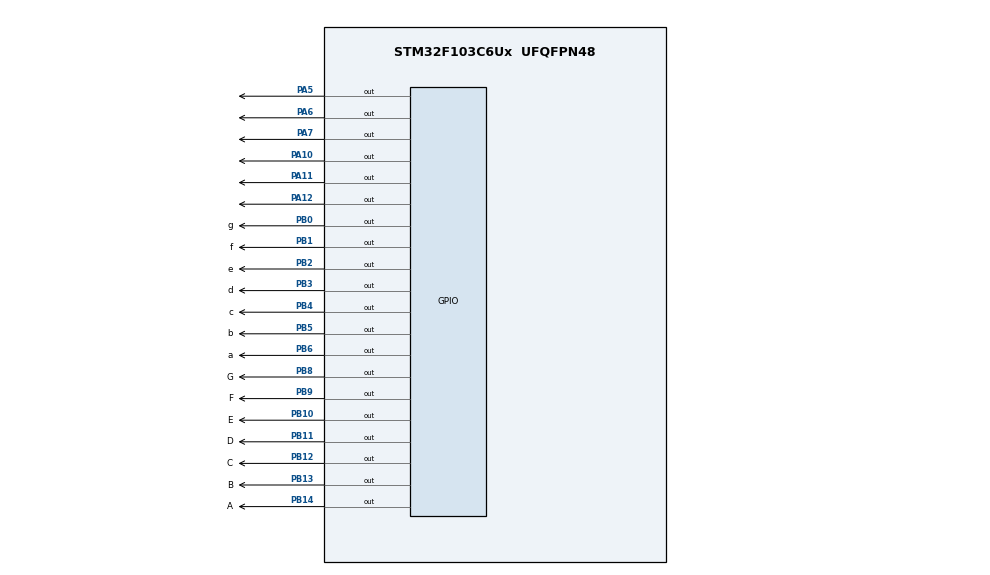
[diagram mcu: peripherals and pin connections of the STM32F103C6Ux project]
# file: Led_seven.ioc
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Mcu.Family=STM32F1
Mcu.Name=STM32F103C6Ux
Mcu.Package=UFQFPN48
NVIC.PriorityGroup=NVIC_PRIORITYGROUP_4
PA10.Signal=GPIO_Output
PA11.Signal=GPIO_Output
PA12.Signal=GPIO_Output
PA5.Signal=GPIO_Output
PA6.Signal=GPIO_Output
PA7.Signal=GPIO_Output
PB0.GPIO_Label=g
PB0.Signal=GPIO_Output
PB1.GPIO_Label=f
PB1.Signal=GPIO_Output
PB10.GPIO_Label=E
PB10.Signal=GPIO_Output
PB11.GPIO_Label=D
PB11.Signal=GPIO_Output
PB12.GPIO_Label=C
PB12.Signal=GPIO_Output
PB13.GPIO_Label=B
PB13.Signal=GPIO_Output
PB14.GPIO_Label=A
PB14.Signal=GPIO_Output
PB2.GPIO_Label=e
PB2.Signal=GPIO_Output
PB3.GPIO_Label=d
PB3.Signal=GPIO_Output
PB4.GPIO_Label=c
PB4.Signal=GPIO_Output
PB5.GPIO_Label=b
PB5.Signal=GPIO_Output
PB6.GPIO_Label=a
PB6.Signal=GPIO_Output
PB8.GPIO_Label=G
PB8.Signal=GPIO_Output
PB9.GPIO_Label=F
PB9.Signal=GPIO_Output
ProjectManager.HeapSize=0x200
ProjectManager.StackSize=0x400
ProjectManager.TargetToolchain=STM32CubeIDE
RCC.APB1Freq_Value=8000000
RCC.APB2Freq_Value=8000000
VP_SYS_VS_ND.Mode=No_Debug
board=custom

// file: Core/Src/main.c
/* USER CODE BEGIN Header */
/**
  ******************************************************************************
  * @file           : main.c
  * @brief          : Main program body
  ******************************************************************************
  * @attention
  *
  * <h2><center>&copy; Copyright (c) 2022 STMicroelectronics.
  * All rights reserved.</center></h2>
  *
  * This software component is licensed by ST under BSD 3-Clause license,
  * the "License"; You may not use this file except in compliance with the
  * License. You may obtain a copy of the License at:
  *                        opensource.org/licenses/BSD-3-Clause
  *
  ******************************************************************************
  */
/* USER CODE END Header */
#include "main.h"

void SystemClock_Config(void);
static void MX_GPIO_Init(void);

/* USER CODE BEGIN 0 */
void display7SEG(int num)
{
	HAL_GPIO_WritePin ( GPIOB , g_Pin|f_Pin|e_Pin|d_Pin|c_Pin|b_Pin|a_Pin ,RESET);
	switch (num)
	{
	case 0:
		HAL_GPIO_WritePin ( GPIOB , g_Pin ,SET);
		break;
	case 1:
		HAL_GPIO_WritePin ( GPIOB , g_Pin|f_Pin|e_Pin|d_Pin|a_Pin ,SET);
		break;
	case 2:
		HAL_GPIO_WritePin ( GPIOB , f_Pin|c_Pin ,SET);
		break;
	case 3:
		HAL_GPIO_WritePin ( GPIOB , f_Pin|e_Pin ,SET);
		break;
	case 4:
		HAL_GPIO_WritePin ( GPIOB , e_Pin|d_Pin|a_Pin ,SET);
		break;
	case 5:
		HAL_GPIO_WritePin ( GPIOB , e_Pin|b_Pin ,SET);
		break;
	case 6:
		HAL_GPIO_WritePin ( GPIOB , b_Pin ,SET);
		break;
	case 7:
		HAL_GPIO_WritePin ( GPIOB , g_Pin|f_Pin|e_Pin|d_Pin ,SET);
		break;
	case 8:
		break;
	case 9:
		HAL_GPIO_WritePin ( GPIOB , e_Pin ,SET );
		break;
	}
}
void display7SEGOPERSITE(int num)
{
	HAL_GPIO_WritePin ( GPIOB , G_Pin|F_Pin|E_Pin|D_Pin|C_Pin|B_Pin|A_Pin ,RESET );
	switch (num)
	{
	case 0:
		HAL_GPIO_WritePin ( GPIOB , G_Pin ,SET );
		break;
	case 1:
		HAL_GPIO_WritePin ( GPIOB , G_Pin|F_Pin|E_Pin|D_Pin|A_Pin ,SET );
		break;
	case 2:
		HAL_GPIO_WritePin ( GPIOB , F_Pin|C_Pin ,SET );
		break;
	case 3:
		HAL_GPIO_WritePin ( GPIOB , F_Pin|E_Pin ,SET );
		break;
	case 4:
		HAL_GPIO_WritePin ( GPIOB , E_Pin|D_Pin|A_Pin ,SET );
		break;
	case 5:
		HAL_GPIO_WritePin ( GPIOB , E_Pin|B_Pin ,SET );
		break;
	case 6:
		HAL_GPIO_WritePin ( GPIOB , B_Pin ,SET );
		break;
	case 7:
		HAL_GPIO_WritePin ( GPIOB , G_Pin|F_Pin|E_Pin|D_Pin ,SET );
		break;
	case 8:
		break;
	case 9:
		HAL_GPIO_WritePin ( GPIOB , E_Pin ,SET );
		break;
	}
}
/* USER CODE END 0 */

int main(void)
{

  /* MCU Configuration--------------------------------------------------------*/

  /* Reset of all peripherals, Initializes the Flash interface and the Systick. */
  HAL_Init();

  /* Configure the system clock */
  SystemClock_Config();

  /* Initialize all configured peripherals */
  MX_GPIO_Init();

  /* Infinite loop */
  /* USER CODE BEGIN WHILE */
  int counter = 0;
  int countled1, countled2;
  int red, yellow, green;
  while (1)
  {
	  ///Ex4
//	  if(counter >= 10) counter = 0;
//	  display7SEG(counter++);
//	  HAL_Delay(1000);
	  ///
	  ///Ex5
	  switch (counter)
 	  {
	  case 0:
		  HAL_GPIO_TogglePin(GPIOA,GPIO_PIN_5);
		  HAL_GPIO_TogglePin(GPIOA,GPIO_PIN_6);
	  	  HAL_GPIO_TogglePin(GPIOA,GPIO_PIN_11);
 		  HAL_GPIO_TogglePin(GPIOA,GPIO_PIN_12);
 		  break;
	  case 3:
		  HAL_GPIO_TogglePin(GPIOA,GPIO_PIN_7);
		  HAL_GPIO_TogglePin(GPIOA,GPIO_PIN_6);
		  break;
	  case 5:
		  HAL_GPIO_TogglePin(GPIOA,GPIO_PIN_6);
		  HAL_GPIO_TogglePin(GPIOA,GPIO_PIN_5);
		  HAL_GPIO_TogglePin(GPIOA,GPIO_PIN_10);
		  HAL_GPIO_TogglePin(GPIOA,GPIO_PIN_12);
		  break;
	  case 8:
		  HAL_GPIO_TogglePin(GPIOA,GPIO_PIN_12);
		  HAL_GPIO_TogglePin(GPIOA,GPIO_PIN_11);
		  break;
	  case 10:
		  counter=0;
		  HAL_GPIO_TogglePin(GPIOA,GPIO_PIN_5);
		  HAL_GPIO_TogglePin(GPIOA,GPIO_PIN_7);
		  HAL_GPIO_TogglePin(GPIOA,GPIO_PIN_11);
		  HAL_GPIO_TogglePin(GPIOA,GPIO_PIN_10);
		  break;
	  }
	  if(counter == 0)
	  {
		  red = 0;
		  yellow = 0;
		  green = 1;
	  }
	  if(green == 1)
	  {
		  countled1 = 3;
		  countled2 = 5;
		  green = 0;
		  yellow = 1;
	  }
	  if(yellow == 1 && countled1 == 0)
	  {
		  countled1 = 2;
		  yellow = 0;
		  red = 1;
	  }
	  if(red == 1 && countled1 == 0)
	  {
		  countled1 = 5;
		  countled2 = 3;
		  yellow = 1;
		  red = 0;
	  }
	  if(yellow == 1 && countled2 == 0)
	  {
		  countled2 = 2;
		  yellow = 0;
	  }
	  countled1--;
	  countled2--;
	  display7SEG(countled1);
	  display7SEGOPERSITE(countled2);
	  counter++;
  	  HAL_Delay (1000);
    /* USER CODE END WHILE */

  }
}

void SystemClock_Config(void)
{
  RCC_OscInitTypeDef RCC_OscInitStruct = {0};
  RCC_ClkInitTypeDef RCC_ClkInitStruct = {0};

  /** Initializes the RCC Oscillators according to the specified parameters
  * in the RCC_OscInitTypeDef structure.
  */
  RCC_OscInitStruct.OscillatorType = RCC_OSCILLATORTYPE_HSI;
  RCC_OscInitStruct.HSIState = RCC_HSI_ON;
  RCC_OscInitStruct.HSICalibrationValue = RCC_HSICALIBRATION_DEFAULT;
  RCC_OscInitStruct.PLL.PLLState = RCC_PLL_NONE;
  if (HAL_RCC_OscConfig(&RCC_OscInitStruct) != HAL_OK)
  {
    Error_Handler();
  }
  /** Initializes the CPU, AHB and APB buses clocks
  */
  RCC_ClkInitStruct.ClockType = RCC_CLOCKTYPE_HCLK|RCC_CLOCKTYPE_SYSCLK
                              |RCC_CLOCKTYPE_PCLK1|RCC_CLOCKTYPE_PCLK2;
  RCC_ClkInitStruct.SYSCLKSource = RCC_SYSCLKSOURCE_HSI;
  RCC_ClkInitStruct.AHBCLKDivider = RCC_SYSCLK_DIV1;
  RCC_ClkInitStruct.APB1CLKDivider = RCC_HCLK_DIV1;
  RCC_ClkInitStruct.APB2CLKDivider = RCC_HCLK_DIV1;

  if (HAL_RCC_ClockConfig(&RCC_ClkInitStruct, FLASH_LATENCY_0) != HAL_OK)
  {
    Error_Handler();
  }
}

static void MX_GPIO_Init(void)
{
  GPIO_InitTypeDef GPIO_InitStruct = {0};

  /* GPIO Ports Clock Enable */
  __HAL_RCC_GPIOA_CLK_ENABLE();
  __HAL_RCC_GPIOB_CLK_ENABLE();

  /*Configure GPIO pin Output Level */
  HAL_GPIO_WritePin(GPIOA, GPIO_PIN_5|GPIO_PIN_6|GPIO_PIN_7|GPIO_PIN_10
                          |GPIO_PIN_11|GPIO_PIN_12, GPIO_PIN_RESET);

  /*Configure GPIO pin Output Level */
  HAL_GPIO_WritePin(GPIOB, g_Pin|f_Pin|e_Pin|E_Pin
                          |D_Pin|C_Pin|B_Pin|A_Pin
                          |d_Pin|c_Pin|b_Pin|a_Pin
                          |G_Pin|F_Pin, GPIO_PIN_RESET);

  /*Configure GPIO pins : PA5 PA6 PA7 PA10
                           PA11 PA12 */
  GPIO_InitStruct.Pin = GPIO_PIN_5|GPIO_PIN_6|GPIO_PIN_7|GPIO_PIN_10
                          |GPIO_PIN_11|GPIO_PIN_12;
  GPIO_InitStruct.Mode = GPIO_MODE_OUTPUT_PP;
  GPIO_InitStruct.Pull = GPIO_NOPULL;
  GPIO_InitStruct.Speed = GPIO_SPEED_FREQ_LOW;
  HAL_GPIO_Init(GPIOA, &GPIO_InitStruct);

  /*Configure GPIO pins : g_Pin f_Pin e_Pin E_Pin
                           D_Pin C_Pin B_Pin A_Pin
                           d_Pin c_Pin b_Pin a_Pin
                           G_Pin F_Pin */
  GPIO_InitStruct.Pin = g_Pin|f_Pin|e_Pin|E_Pin
                          |D_Pin|C_Pin|B_Pin|A_Pin
                          |d_Pin|c_Pin|b_Pin|a_Pin
                          |G_Pin|F_Pin;
  GPIO_InitStruct.Mode = GPIO_MODE_OUTPUT_PP;
  GPIO_InitStruct.Pull = GPIO_NOPULL;
  GPIO_InitStruct.Speed = GPIO_SPEED_FREQ_LOW;
  HAL_GPIO_Init(GPIOB, &GPIO_InitStruct);

}

void Error_Handler(void)
{
  __disable_irq();
  while (1)
  {
  }
}

/************************ (C) COPYRIGHT STMicroelectronics *****END OF FILE****/
